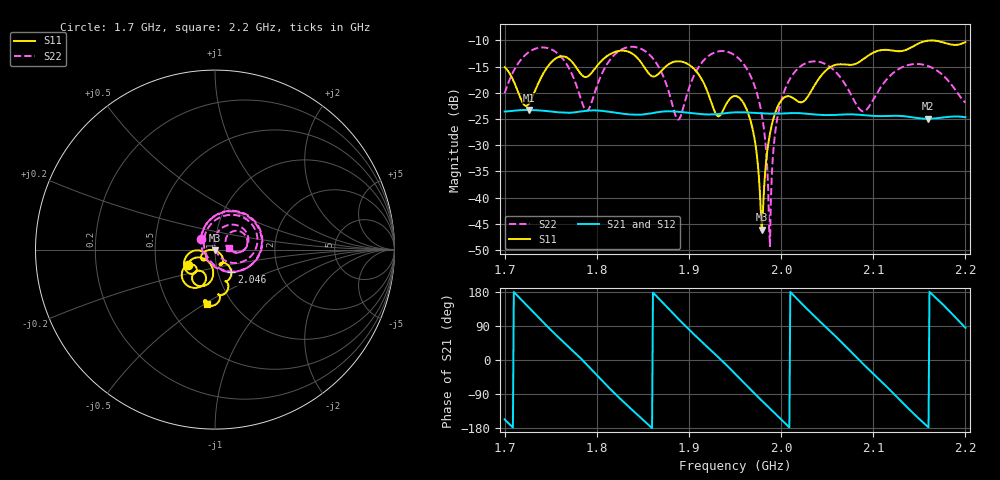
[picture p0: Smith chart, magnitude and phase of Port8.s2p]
# Hz S RI R 50
! CMT, CMT808U, 21440046, 21.4.3/4
! Date: 12/11/2025 6:18:52 PM
! Data: Format (Calibration Info)
! Freq	S11:Re/Im(F2)	S41:Re/Im(F2)	S14:Re/Im(F2)	S44:Re/Im(F2)
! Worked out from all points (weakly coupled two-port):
!   501 points, 1.7 GHz to 2.2 GHz, reference 50 ohm
!   highest |S21| = -23.28 dB at 1.726 GHz (marker M1); lowest = -25.0 dB at 2.159 GHz (marker M2)
!   lowest |S11| = -46.1 dB at 1.979 GHz (marker M3), VSWR 1.01, Z = 49.8 - j0.445 ohm
!   |S11| at or under -10 dB: start of sweep to end of sweep
!   |S22| runs from -49.3 to -11.2 dB; largest |S21 - S12| = 0.00066
!   S11 on the Smith chart (normalised r, x): 1.7 GHz: 0.73, -0.13; 2.046 GHz: 1.16, -0.30; 2.2 GHz: 0.77, -0.51
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1.7e9  -0.1517 -0.0881  -0.0608 -0.0261  -0.0605 -0.0265  -0.0785 0.0603
1.726e9  -0.0337 -0.07  -0.052 0.0447  -0.0521 0.0442  0.1219 0.2104
1.757e9  -0.0717 -0.204  0.0295 0.0583  0.029 0.0583  0.2348 -0.0469
1.784e9  -0.0884 -0.1174  0.0665 0.00112  0.0664 0.00158  -0.026 -0.0766
1.791e9  -0.059 -0.1321  0.0648 -0.0193  0.0648 -0.0189  -0.0681 -0.0107
1.828e9  -0.1589 -0.1962  -0.0196 -0.06  -0.0191 -0.0601  0.1724 0.197
1.867e9  -0.1011 -0.1127  -0.0626 0.019  -0.0626 0.0185  0.1319 -0.1191
1.888e9  -0.1606 -0.1189  -0.0224 0.062  -0.0228 0.0618  -0.0503 -0.0233
1.909e9  -0.1534 -0.0295  0.0321 0.0543  0.0316 0.0544  0.00566 0.167
1.931e9  -0.0548 -0.0245  0.0617 0.0103  0.0615 0.0108  0.1938 0.1535
1.95e9  -0.0744 -0.0559  0.0525 -0.0385  0.0527 -0.038  0.2271 0.00459
1.968e9  -0.0492 -0.00677  0.0104 -0.0636  0.0109 -0.0635  0.1157 -0.0748
1.979e9  -0.0021 -0.00447  -0.0187 -0.0609  -0.0182 -0.0609  0.0379 -0.0494
1.988e9  0.0319 -0.026  -0.039 -0.0495  -0.0387 -0.0498  0.00146 0.00311
1.993e9  0.043 -0.0446  -0.0483 -0.0405  -0.0479 -0.0409  -0.00379 0.0373
2.001e9  0.0439 -0.0741  -0.0591 -0.023  -0.0588 -0.0235  0.00982 0.0883
2.034e9  0.0695 -0.0835  -0.0319 0.0536  -0.0323 0.0534  0.1717 0.1004
2.046e9  0.0904 -0.1254  -0.00291 0.0612  -0.00353 0.0612  0.1861 0.0449
2.088e9  0.0724 -0.1924  0.0607 -0.0085  0.0607 -0.008  0.0639 0.0191
2.117e9  0.025 -0.2542  0.0143 -0.0583  0.0149 -0.0582  0.0986 0.1014
2.159e9  -0.0152 -0.3133  -0.0563 -0.00421  -0.0564 -0.00472  0.1787 0.0268
2.2e9  -0.0432 -0.3015  0.00522 0.0582  0.00475 0.0582  0.08 0.00861
